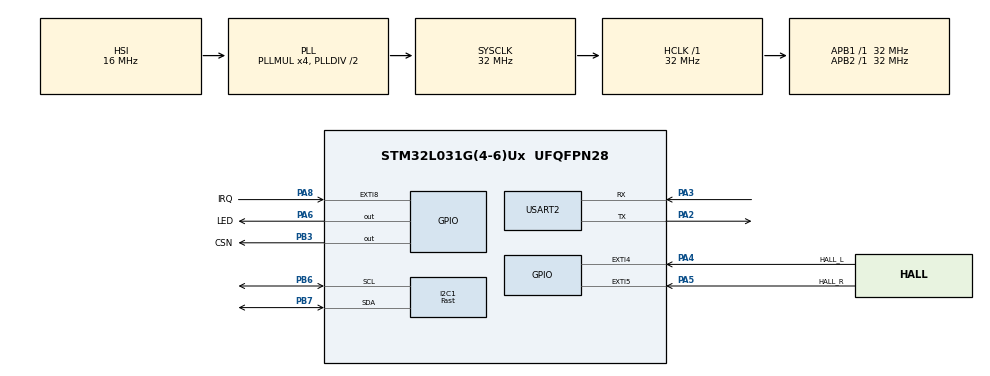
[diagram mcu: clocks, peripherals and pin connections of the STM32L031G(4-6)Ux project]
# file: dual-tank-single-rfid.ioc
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I2C1.I2C_Speed_Mode=I2C_Fast
I2C1.Timing=0x0060112F
Mcu.Family=STM32L0
Mcu.Name=STM32L031G(4-6)Ux
Mcu.Package=UFQFPN28
PA13.Mode=Serial_Wire
PA13.Signal=SYS_SWDIO
PA14.Mode=Serial_Wire
PA14.Signal=SYS_SWCLK
PA2.Mode=Asynchronous
PA2.Signal=USART2_TX
PA3.Mode=Asynchronous
PA3.Signal=USART2_RX
PA4.GPIO_Label=HALL_L
PA4.GPIO_ModeDefaultEXTI=GPIO_MODE_IT_RISING_FALLING
PA4.Signal=GPXTI4
PA5.GPIO_Label=HALL_R
PA5.GPIO_ModeDefaultEXTI=GPIO_MODE_IT_RISING_FALLING
PA5.Signal=GPXTI5
PA6.GPIO_Label=LED
PA6.Signal=GPIO_Output
PA8.GPIO_Label=IRQ
PA8.GPIO_ModeDefaultEXTI=GPIO_MODE_IT_FALLING
PA8.Signal=GPXTI8
PB3.GPIO_Label=CSN
PB3.Signal=GPIO_Output
PB6.Mode=I2C
PB6.Signal=I2C1_SCL
PB7.Mode=I2C
PB7.Signal=I2C1_SDA
PC14-OSC32_IN.Mode=LSE-External-Oscillator
PC14-OSC32_IN.Signal=RCC_OSC32_IN
PC15-OSC32_OUT.Mode=LSE-External-Oscillator
PC15-OSC32_OUT.Signal=RCC_OSC32_OUT
ProjectManager.HeapSize=0x200
ProjectManager.StackSize=0x400
ProjectManager.TargetToolchain=STM32CubeIDE
RCC.AHBFreq_Value=32000000
RCC.APB1Freq_Value=32000000
RCC.APB1TimFreq_Value=32000000
RCC.APB2Freq_Value=32000000
RCC.APB2TimFreq_Value=32000000
RCC.HCLKFreq_Value=32000000
RCC.HSE_VALUE=8000000
RCC.HSI16_VALUE=16000000
RCC.HSI_VALUE=16000000
RCC.MSI_VALUE=2097000
RCC.PLLMUL=RCC_PLLMUL_4
RCC.SYSCLKFreq_VALUE=32000000
RCC.SYSCLKSource=RCC_SYSCLKSOURCE_PLLCLK
RCC.VCOOutputFreq_Value=64000000
TIM2.Prescaler=0
USART2.VirtualMode-Asynchronous=VM_ASYNC
VP_TIM2_VS_ClockSourceINT.Mode=Internal
board=custom

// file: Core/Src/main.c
/* USER CODE BEGIN Header */
/**
 ******************************************************************************
 * @file           : main.c
 * @brief          : Main program body
 ******************************************************************************
 * @attention
 *
 * Copyright (c) 2024 STMicroelectronics.
 * All rights reserved.
 *
 * This software is licensed under terms that can be found in the LICENSE file
 * in the root directory of this software component.
 * If no LICENSE file comes with this software, it is provided AS-IS.
 *
 ******************************************************************************
 */
/* USER CODE END Header */
#include "main.h"

#include "gpio.h"
#include "i2c.h"
#include "tim.h"
#include "usart.h"

/* USER CODE BEGIN Includes */
#include "fm11.h"
#include "stdio.h"
#include "utility.h"
/* USER CODE END Includes */

/* USER CODE BEGIN PTD */
#define FM11_I2C_ADDRESS (0xAE)
/* USER CODE END PTD */

/* USER CODE BEGIN PD */
#define FM441_NDEF_Header_EEaddress 0x010
#define RESET_SILENCE 0xFFE6
/* USER CODE END PD */

/* USER CODE BEGIN PV */

GPIO_PinState hall_l_prev_state = GPIO_PIN_RESET;
GPIO_PinState hall_r_prev_state = GPIO_PIN_RESET;

periodic_task_t led_blink_ctr = {0, 500u, led_blink};
periodic_task_t update_eeprom_ctr = {0, 250u, update_eeprom};

uint8_t read_buf[16] = {};  // 测试BUF
uint8_t write_buf[16] = {'L', ':', '0', 'R', ':', '0', 'S', 'p', 'r', 'i', 'n', 't', 'R', 'a', 'y', '\0'};

/* USER CODE END PV */

void SystemClock_Config(void);

int main(void) {

    /* MCU Configuration--------------------------------------------------------*/

    /* Reset of all peripherals, Initializes the Flash interface and the Systick. */
    HAL_Init();

    /* Configure the system clock */
    SystemClock_Config();

    /* Initialize all configured peripherals */
    MX_GPIO_Init();
    MX_USART2_UART_Init();
    MX_TIM2_Init();
    MX_I2C1_Init();
    /* USER CODE BEGIN 2 */

    HAL_GPIO_WritePin(CSN_GPIO_Port, CSN_Pin, GPIO_PIN_SET);
    HAL_Delay(100);

    FM11_init();

    FM11_enable();
    FM11_silence();
    FM11_write_eeprom_page(FM11_USER_DATA_START_EEPROM, write_buf, 16);
    FM11_read_eeprom_page(FM11_USER_DATA_START_EEPROM, read_buf, 16);
    FM11_unsilence();
    FM11_disable();

    /* USER CODE END 2 */

    /* Infinite loop */
    /* USER CODE BEGIN WHILE */
    while (1) {
        run_periodically(&led_blink_ctr);
        run_periodically(&update_eeprom_ctr);

        /* USER CODE END WHILE */

    }
}

void SystemClock_Config(void) {
    RCC_OscInitTypeDef       RCC_OscInitStruct = {0};
    RCC_ClkInitTypeDef       RCC_ClkInitStruct = {0};
    RCC_PeriphCLKInitTypeDef PeriphClkInit = {0};

    /** Configure the main internal regulator output voltage
     */
    __HAL_PWR_VOLTAGESCALING_CONFIG(PWR_REGULATOR_VOLTAGE_SCALE1);

    /** Initializes the RCC Oscillators according to the specified parameters
     * in the RCC_OscInitTypeDef structure.
     */
    RCC_OscInitStruct.OscillatorType = RCC_OSCILLATORTYPE_HSI;
    RCC_OscInitStruct.HSIState = RCC_HSI_ON;
    RCC_OscInitStruct.HSICalibrationValue = RCC_HSICALIBRATION_DEFAULT;
    RCC_OscInitStruct.PLL.PLLState = RCC_PLL_ON;
    RCC_OscInitStruct.PLL.PLLSource = RCC_PLLSOURCE_HSI;
    RCC_OscInitStruct.PLL.PLLMUL = RCC_PLLMUL_4;
    RCC_OscInitStruct.PLL.PLLDIV = RCC_PLLDIV_2;
    if (HAL_RCC_OscConfig(&RCC_OscInitStruct) != HAL_OK) {
        Error_Handler();
    }

    /** Initializes the CPU, AHB and APB buses clocks
     */
    RCC_ClkInitStruct.ClockType =
        RCC_CLOCKTYPE_HCLK | RCC_CLOCKTYPE_SYSCLK | RCC_CLOCKTYPE_PCLK1 | RCC_CLOCKTYPE_PCLK2;
    RCC_ClkInitStruct.SYSCLKSource = RCC_SYSCLKSOURCE_PLLCLK;
    RCC_ClkInitStruct.AHBCLKDivider = RCC_SYSCLK_DIV1;
    RCC_ClkInitStruct.APB1CLKDivider = RCC_HCLK_DIV1;
    RCC_ClkInitStruct.APB2CLKDivider = RCC_HCLK_DIV1;

    if (HAL_RCC_ClockConfig(&RCC_ClkInitStruct, FLASH_LATENCY_1) != HAL_OK) {
        Error_Handler();
    }
    PeriphClkInit.PeriphClockSelection = RCC_PERIPHCLK_USART2 | RCC_PERIPHCLK_I2C1;
    PeriphClkInit.Usart2ClockSelection = RCC_USART2CLKSOURCE_PCLK1;
    PeriphClkInit.I2c1ClockSelection = RCC_I2C1CLKSOURCE_PCLK1;
    if (HAL_RCCEx_PeriphCLKConfig(&PeriphClkInit) != HAL_OK) {
        Error_Handler();
    }
}

/* USER CODE BEGIN 4 */

void FN11_init() {
    silence();
}

void led_blink() {
    HAL_GPIO_TogglePin(LED_GPIO_Port, LED_Pin);
}

void update_eeprom() {
    GPIO_PinState hall_l_curr_state = HAL_GPIO_ReadPin(HALL_L_GPIO_Port, HALL_L_Pin);
    GPIO_PinState hall_r_curr_state = HAL_GPIO_ReadPin(HALL_R_GPIO_Port, HALL_R_Pin);

    if (hall_l_curr_state != hall_l_prev_state || hall_r_curr_state != hall_r_prev_state) {
        write_buf[2] = '0' + hall_l_curr_state;
        write_buf[5] = '0' + hall_r_curr_state;

        hall_l_prev_state = hall_l_curr_state;
        hall_r_prev_state = hall_r_curr_state;

        FM11_enable();
        FM11_silence();
        FM11_write_eeprom_page(FM11_USER_DATA_START_EEPROM, write_buf, 16);
        FM11_read_eeprom_page(FM11_USER_DATA_START_EEPROM, read_buf, 16);
        FM11_unsilence();
        FM11_disable();
    }
}

void silence() {
    uint8_t silience_code = 0x33;
    HAL_I2C_Mem_Write(&hi2c1, FM11_I2C_ADDRESS, RESET_SILENCE, I2C_MEMADD_SIZE_16BIT, &silience_code, 1,
                      1000);
}

void un_silience() {
    uint8_t silience_code = 0xCC;
    HAL_I2C_Mem_Write(&hi2c1, FM11_I2C_ADDRESS, RESET_SILENCE, I2C_MEMADD_SIZE_16BIT, &silience_code, 1,
                      1000);
}

/* USER CODE END 4 */

void Error_Handler(void) {
    __disable_irq();
    while (1) {
    }
}
